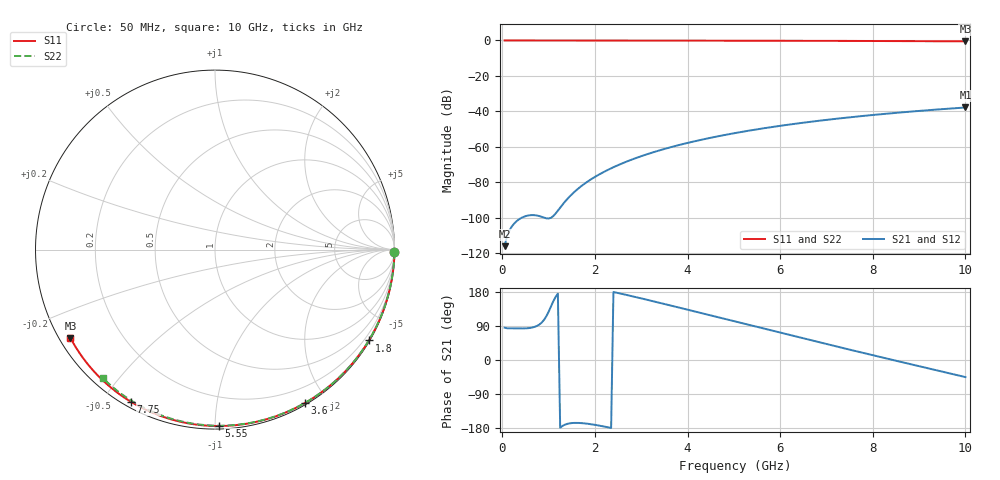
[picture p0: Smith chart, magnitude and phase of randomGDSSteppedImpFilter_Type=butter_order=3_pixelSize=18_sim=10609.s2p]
! freq	dB(S11)	phase(S11)	dB(S12)	phase(S12)
!  dB(S21)	phase(S21)	dB(S22)	phase(S22)
!S-par simulation data
#  GHz  S  DB  R 50
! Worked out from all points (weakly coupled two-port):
!   200 points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, 50 MHz to 10 GHz, reference 50 ohm
!   highest |S21| = -37.83 dB at 10 GHz (marker M1); lowest = -116.1 dB at 50 MHz (marker M2)
!   lowest |S11| = -0.5 dB at 10 GHz (marker M3), VSWR 34.60, Z = 1.56 - j14.1 ohm
!   |S11| at or under -10 dB: nowhere
!   |S22| runs from -0.4 to 0.0 dB; largest |S21 - S12| = 0
!   S11 on the Smith chart (normalised r, x): 50 MHz: open; 1.8 GHz: 0.03, -3.66; 3.6 GHz: 0.02, -1.75; 5.55 GHz: 0.02, -1.02; 7.75 GHz: 0.02, -0.59; 10 GHz: 0.03, -0.28
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0.05  -0.00 -0.9  -116.09 85.2  -116.09 85.2  -0.00 -0.8
0.45  -0.01 -7.8  -99.66 83.3  -99.66 83.3  -0.01 -6.8
0.9  -0.02 -15.4  -99.98 105.7  -99.98 105.7  -0.02 -13.6
1.3  -0.03 -22.2  -92.65 -173.9  -92.65 -173.9  -0.02 -19.5
1.75  -0.04 -29.7  -81.33 -166.9  -81.33 -166.9  -0.03 -26.1
1.8  -0.04 -30.5  -80.39 -167.6  -80.39 -167.6  -0.03 -26.9
1.85  -0.04 -31.4  -79.49 -168.3  -79.49 -168.3  -0.04 -27.6
2.05  -0.04 -34.7  -76.23 -172.2  -76.23 -172.2  -0.04 -30.5
2.2  -0.05 -37.1  -74.10 -175.6  -74.10 -175.6  -0.04 -32.7
2.55  -0.06 -42.9  -69.81 175.4  -69.81 175.4  -0.05 -37.7
2.95  -0.06 -49.3  -65.77 164.1  -65.77 164.1  -0.06 -43.4
3.4  -0.08 -56.4  -61.98 150.8  -61.98 150.8  -0.07 -49.7
3.6  -0.08 -59.5  -60.50 144.8  -60.50 144.8  -0.07 -52.5
4.3  -0.10 -70.3  -56.03 123.6  -56.03 123.6  -0.09 -62.1
5.05  -0.13 -81.4  -52.15 100.8  -52.15 100.8  -0.11 -72.0
5.55  -0.15 -88.6  -49.95 85.6  -49.95 85.6  -0.13 -78.5
6.1  -0.17 -96.4  -47.81 69.0  -47.81 69.0  -0.15 -85.4
6.7  -0.20 -104.7  -45.75 51.0  -45.75 51.0  -0.18 -92.8
7.75  -0.28 -118.9  -42.70 20.0  -42.70 20.0  -0.24 -105.4
8.35  -0.33 -126.9  -41.21 2.5  -41.21 2.5  -0.29 -112.4
9.2  -0.41 -138.0  -39.35 -22.1  -39.35 -22.1  -0.36 -122.1
10  -0.50 -148.6  -37.83 -45.1  -37.83 -45.1  -0.44 -131.1
